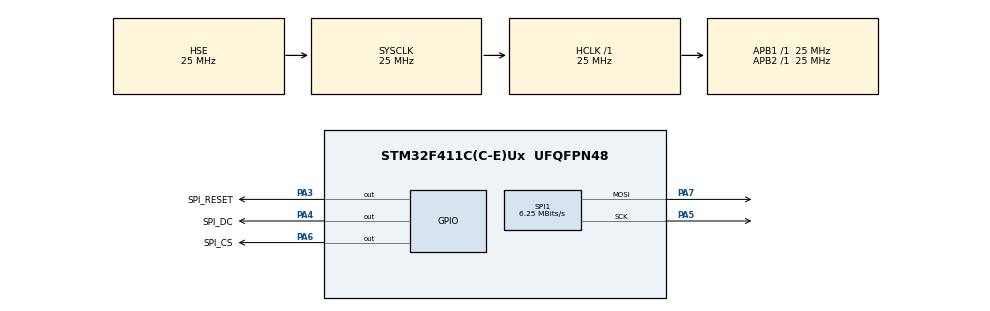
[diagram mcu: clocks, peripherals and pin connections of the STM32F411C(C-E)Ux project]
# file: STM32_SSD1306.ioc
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FREERTOS.Tasks01=gui,0,2000,guiTask,Default,NULL,Dynamic,NULL,NULL
Mcu.Family=STM32F4
Mcu.Name=STM32F411C(C-E)Ux
Mcu.Package=UFQFPN48
NVIC.PriorityGroup=NVIC_PRIORITYGROUP_4
NVIC.TIM1_UP_TIM10_IRQn=true\:15\:0\:false\:false\:true\:false\:false\:true\:true
NVIC.TimeBase=TIM1_UP_TIM10_IRQn
NVIC.TimeBaseIP=TIM1
PA13.Mode=Serial_Wire
PA13.Signal=SYS_JTMS-SWDIO
PA14.Mode=Serial_Wire
PA14.Signal=SYS_JTCK-SWCLK
PA3.GPIO_Label=SPI_RESET
PA3.Signal=GPIO_Output
PA4.GPIO_Label=SPI_DC
PA4.Signal=GPIO_Output
PA5.Mode=TX_Only_Simplex_Unidirect_Master
PA5.Signal=SPI1_SCK
PA6.GPIO_Label=SPI_CS
PA6.Signal=GPIO_Output
PA7.Mode=TX_Only_Simplex_Unidirect_Master
PA7.Signal=SPI1_MOSI
PH0\ -\ OSC_IN.Mode=HSE-External-Oscillator
PH0\ -\ OSC_IN.Signal=RCC_OSC_IN
PH1\ -\ OSC_OUT.Mode=HSE-External-Oscillator
PH1\ -\ OSC_OUT.Signal=RCC_OSC_OUT
ProjectManager.HeapSize=0x200
ProjectManager.StackSize=0x400
ProjectManager.TargetToolchain=STM32CubeIDE
RCC.48MHZClocksFreq_Value=75000000
RCC.AHBFreq_Value=25000000
RCC.APB1Freq_Value=25000000
RCC.APB1TimFreq_Value=25000000
RCC.APB2Freq_Value=25000000
RCC.APB2TimFreq_Value=25000000
RCC.CortexFreq_Value=25000000
RCC.HCLKFreq_Value=25000000
RCC.HSE_VALUE=25000000
RCC.HSI_VALUE=16000000
RCC.LSE_VALUE=32768
RCC.PLLSourceVirtual=RCC_PLLSOURCE_HSE
RCC.SYSCLKFreq_VALUE=25000000
RCC.SYSCLKSource=RCC_SYSCLKSOURCE_HSE
RCC.VCOOutputFreq_Value=300000000
SPI1.BaudRatePrescaler=SPI_BAUDRATEPRESCALER_4
SPI1.CalculateBaudRate=6.25 MBits/s
SPI1.Direction=SPI_DIRECTION_2LINES
SPI1.Mode=SPI_MODE_MASTER
SPI1.VirtualType=VM_MASTER
TIM2.Prescaler=25-1
VP_FREERTOS_VS_CMSIS_V1.Mode=CMSIS_V1
VP_SYS_VS_tim1.Mode=TIM1
VP_TIM2_VS_ClockSourceINT.Mode=Internal
board=custom

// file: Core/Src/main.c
/* @file  main.c
   @brief this code involves STM32 and SSD1306 oled display implementation
          with lvgl support.
   @author Shyam Jha (Avinashee Tech)
*/

#include "main.h"
#include "cmsis_os.h"

/* USER CODE BEGIN Includes */
#include <stdio.h>
#include <string.h>
#include <stdlib.h>

#include "ssd1306.h"
#include "lvgl.h"
#include "ui.h"
/* USER CODE END Includes */

/* USER CODE BEGIN PD */
#define SCREEN_WIDTH 128 // OLED display width, in pixels
#define SCREEN_HEIGHT 64 // OLED display height, in pixels
/* USER CODE END PD */

/* USER CODE BEGIN PM */
#define LV_TICK_PERIOD_MS 1
#define DISP_BUF_LINES 8   // e.g., 8 lines at a time
#define BYTES_PER_PIXEL (LV_COLOR_FORMAT_GET_SIZE(LV_COLOR_FORMAT_I1))
#define DISP_BUF_SIZE (SCREEN_WIDTH * DISP_BUF_LINES)
#define HW_COLUMNS (128 / 8)
#define LV_TICK_PERIOD_MS 1

/* USER CODE END PM */

SPI_HandleTypeDef hspi1;

TIM_HandleTypeDef htim2;

osThreadId guiHandle;

void SystemClock_Config(void);
static void MX_GPIO_Init(void);
static void MX_SPI1_Init(void);
static void MX_TIM2_Init(void);

/* USER CODE BEGIN 0 */

extern const lv_img_dsc_t moustacheman_bmp;
extern const lv_img_dsc_t hatwomen_bmp;
extern const lv_img_dsc_t building_bmp;
extern const lv_img_dsc_t animal_bmp;
extern const lv_img_dsc_t flower_bmp;

//tick count variable
volatile int tick = 0;

static int hour = 7;
static int minute = 30;
static int second = 0;

/*function declarations*/
void guiTask(void const * pvParameter);
void oled_flush_cb(struct _lv_disp_drv_t * disp_drv, const lv_area_t * area, lv_color_t * color_p);
void oled_set_px_cb(struct _lv_disp_drv_t * disp_drv, uint8_t * buf, lv_coord_t buf_w, lv_coord_t x, lv_coord_t y, lv_color_t color, lv_opa_t opa);
void oled_rounder_cb(struct _lv_disp_drv_t * disp_drv, lv_area_t *a);
void flush_one_row(unsigned int address, uint8_t *buf, int linelen);
void lvgl_display_handler(int ms);
static void lv_tick_task(void);
void update_clock(lv_timer_t * timer);
/* USER CODE END 0 */

int main(void)
{

  /* MCU Configuration--------------------------------------------------------*/

  /* Reset of all peripherals, Initializes the Flash interface and the Systick. */
  HAL_Init();

  /* Configure the system clock */
  SystemClock_Config();

  /* Initialize all configured peripherals */
  MX_GPIO_Init();
  MX_SPI1_Init();
  MX_TIM2_Init();
  /* USER CODE BEGIN 2 */

  HAL_TIM_Base_Start(&htim2);  //for delay in microseconds

  //initialize display driver
  if(!oled_begin(SCREEN_WIDTH,SCREEN_HEIGHT,SSD1306_SWITCHCAPVCC,true)) { // SSD1306_SWITCHCAPVCC = generate display voltage from 3.3V internally
	  printf("SSD1306 allocation failed");
  }

  // Clear the buffer
  oled_clearDisplay();

  /* USER CODE END 2 */

  /* Create the thread(s) */
  /* definition and creation of gui */
  osThreadDef(gui, guiTask, osPriorityNormal, 0, 2000);
  guiHandle = osThreadCreate(osThread(gui), NULL);

  /* Start scheduler */
  osKernelStart();

  /* We should never get here as control is now taken by the scheduler */

  /* Infinite loop */
  while (1)
  {

  }
}

void SystemClock_Config(void)
{
  RCC_OscInitTypeDef RCC_OscInitStruct = {0};
  RCC_ClkInitTypeDef RCC_ClkInitStruct = {0};

  /** Configure the main internal regulator output voltage
  */
  __HAL_RCC_PWR_CLK_ENABLE();
  __HAL_PWR_VOLTAGESCALING_CONFIG(PWR_REGULATOR_VOLTAGE_SCALE1);

  /** Initializes the RCC Oscillators according to the specified parameters
  * in the RCC_OscInitTypeDef structure.
  */
  RCC_OscInitStruct.OscillatorType = RCC_OSCILLATORTYPE_HSE;
  RCC_OscInitStruct.HSEState = RCC_HSE_ON;
  RCC_OscInitStruct.PLL.PLLState = RCC_PLL_NONE;
  if (HAL_RCC_OscConfig(&RCC_OscInitStruct) != HAL_OK)
  {
    Error_Handler();
  }

  /** Initializes the CPU, AHB and APB buses clocks
  */
  RCC_ClkInitStruct.ClockType = RCC_CLOCKTYPE_HCLK|RCC_CLOCKTYPE_SYSCLK
                              |RCC_CLOCKTYPE_PCLK1|RCC_CLOCKTYPE_PCLK2;
  RCC_ClkInitStruct.SYSCLKSource = RCC_SYSCLKSOURCE_HSE;
  RCC_ClkInitStruct.AHBCLKDivider = RCC_SYSCLK_DIV1;
  RCC_ClkInitStruct.APB1CLKDivider = RCC_HCLK_DIV1;
  RCC_ClkInitStruct.APB2CLKDivider = RCC_HCLK_DIV1;

  if (HAL_RCC_ClockConfig(&RCC_ClkInitStruct, FLASH_LATENCY_0) != HAL_OK)
  {
    Error_Handler();
  }
}

static void MX_SPI1_Init(void)
{

  /* SPI1 parameter configuration*/
  hspi1.Instance = SPI1;
  hspi1.Init.Mode = SPI_MODE_MASTER;
  hspi1.Init.Direction = SPI_DIRECTION_2LINES;
  hspi1.Init.DataSize = SPI_DATASIZE_8BIT;
  hspi1.Init.CLKPolarity = SPI_POLARITY_LOW;
  hspi1.Init.CLKPhase = SPI_PHASE_1EDGE;
  hspi1.Init.NSS = SPI_NSS_SOFT;
  hspi1.Init.BaudRatePrescaler = SPI_BAUDRATEPRESCALER_4;
  hspi1.Init.FirstBit = SPI_FIRSTBIT_MSB;
  hspi1.Init.TIMode = SPI_TIMODE_DISABLE;
  hspi1.Init.CRCCalculation = SPI_CRCCALCULATION_DISABLE;
  hspi1.Init.CRCPolynomial = 10;
  if (HAL_SPI_Init(&hspi1) != HAL_OK)
  {
    Error_Handler();
  }

}

static void MX_TIM2_Init(void)
{

  TIM_ClockConfigTypeDef sClockSourceConfig = {0};
  TIM_MasterConfigTypeDef sMasterConfig = {0};

  htim2.Instance = TIM2;
  htim2.Init.Prescaler = 25-1;
  htim2.Init.CounterMode = TIM_COUNTERMODE_UP;
  htim2.Init.Period = 4294967295;
  htim2.Init.ClockDivision = TIM_CLOCKDIVISION_DIV1;
  htim2.Init.AutoReloadPreload = TIM_AUTORELOAD_PRELOAD_DISABLE;
  if (HAL_TIM_Base_Init(&htim2) != HAL_OK)
  {
    Error_Handler();
  }
  sClockSourceConfig.ClockSource = TIM_CLOCKSOURCE_INTERNAL;
  if (HAL_TIM_ConfigClockSource(&htim2, &sClockSourceConfig) != HAL_OK)
  {
    Error_Handler();
  }
  sMasterConfig.MasterOutputTrigger = TIM_TRGO_RESET;
  sMasterConfig.MasterSlaveMode = TIM_MASTERSLAVEMODE_DISABLE;
  if (HAL_TIMEx_MasterConfigSynchronization(&htim2, &sMasterConfig) != HAL_OK)
  {
    Error_Handler();
  }

}

static void MX_GPIO_Init(void)
{
  GPIO_InitTypeDef GPIO_InitStruct = {0};

  /* GPIO Ports Clock Enable */
  __HAL_RCC_GPIOH_CLK_ENABLE();
  __HAL_RCC_GPIOA_CLK_ENABLE();

  /*Configure GPIO pin Output Level */
  HAL_GPIO_WritePin(GPIOA, SPI_RESET_Pin|SPI_DC_Pin|SPI_CS_Pin, GPIO_PIN_RESET);

  /*Configure GPIO pins : SPI_RESET_Pin SPI_DC_Pin SPI_CS_Pin */
  GPIO_InitStruct.Pin = SPI_RESET_Pin|SPI_DC_Pin|SPI_CS_Pin;
  GPIO_InitStruct.Mode = GPIO_MODE_OUTPUT_PP;
  GPIO_InitStruct.Pull = GPIO_NOPULL;
  GPIO_InitStruct.Speed = GPIO_SPEED_FREQ_LOW;
  HAL_GPIO_Init(GPIOA, &GPIO_InitStruct);

}

/* USER CODE BEGIN 4 */

/**
 * @brief  task for GUI operation
 * @param  argument default task parameters
 * @retval None
 * @note   takes care of LVGL initialization and Displays Text
 *         and Images chosen. (UI also)
 */
void guiTask(void const * pvParameter)
{
	//initialize LVGL
	lv_init();

	//create buffer for display data
	printf("buf size-%d\n",DISP_BUF_SIZE * sizeof(lv_color_t));
	lv_color_t* buf1 = malloc(DISP_BUF_SIZE * sizeof(lv_color_t));
	assert(buf1 != NULL);
	lv_color_t *buf2 = NULL;

	static lv_disp_draw_buf_t draw_buf;
	lv_disp_draw_buf_init(&draw_buf, buf1, buf2, DISP_BUF_SIZE);

	lv_disp_drv_t disp_drv;
	lv_disp_drv_init(&disp_drv);
	disp_drv.hor_res = SCREEN_WIDTH;
	disp_drv.ver_res = SCREEN_HEIGHT;
	disp_drv.draw_buf = &draw_buf;
	disp_drv.flush_cb = oled_flush_cb;
	disp_drv.set_px_cb = oled_set_px_cb;
	disp_drv.rounder_cb = oled_rounder_cb;

	lv_disp_t * disp;
	disp = lv_disp_drv_register(&disp_drv);

    /*ui init*/
	ui_init();
	lv_timer_create(update_clock,1000,NULL); //1s period timer

   /* Infinite loop */
    for(;;)
    {
        /*update clock variables*/
    	static char clock_buffer[4] = {0};

		memset(clock_buffer,0,sizeof(clock_buffer));
		sprintf(clock_buffer,"%02d",hour);
		lv_label_set_text(ui_Label1,clock_buffer);

		memset(clock_buffer,0,sizeof(clock_buffer));
		sprintf(clock_buffer,"%02d",minute);
		lv_label_set_text(ui_Label2,clock_buffer);

		memset(clock_buffer,0,sizeof(clock_buffer));
		sprintf(clock_buffer,"%02d",second);
		lv_label_set_text(ui_Label3,clock_buffer);

    	lv_task_handler();
    }

    /* A task should NEVER return */
	free(buf1);
}

/**
 * @brief  function to update UI periodically
 * @param  timer timer descriptor
 * @retval None
 * @note   updates hour, minute and seconds value from the default set variable
 *         defined on the top.
 */
void update_clock(lv_timer_t * timer){
    second++;
    if(second>=60){
        minute++;
        second=0;
    }
    if(minute>=60){
        hour++;
        minute=0;
    }
    if(hour>=24){
        hour=0;
    }

}
/**
 * @brief  helper function to handle lvgl task in background
 * @param  ms millisecond to wait
 * @retval None
 */
void lvgl_display_handler(int ms){
    int current_tick = tick;
    while(abs(tick-current_tick)<ms){
        lv_task_handler();
    }
}

/**
 * @brief  lvgl flush callback for ssd1306 oled
 * @param  disp_drv display driver pointer
 * @param  area display area to update
 * @param  color_p pixel data to be updated
 * @retval None
 * @note   this callback function is called after set_px_cb has prepared 1 bit/pixel
 *         buffer data.
 */
void oled_flush_cb(struct _lv_disp_drv_t * disp_drv, const lv_area_t * area, lv_color_t * color_p)
{
    int row = area->y1, col;
    uint8_t *buffer;
    int linelen = (area->x2 - area->x1)/8;
    buffer = (uint8_t*) color_p;

    for (row = area->y1; row <= area->y2; row++) {
        unsigned int address = (unsigned int)row * HW_COLUMNS + area->x1/8;
        flush_one_row(address, buffer, linelen);
        buffer += linelen+1;
    }

    oled_display();
    lv_disp_flush_ready(disp_drv);
}

/**
 * @brief  lvgl set pixel callback for ssd1306 oled
 * @param  disp_drv display driver pointer
 * @param  buf  display data buffer
 * @param  buf_w display width
 * @param  x display x co-ordinates
 * @param  y display y co-ordinates
 * @param  color 8bit color value
 * @param  opa opacity value
 * @retval None
 * @note   converts 8 bit/pixel color value into 1 bit/pixel based on
 *         display buffer value.
 */
void oled_set_px_cb(struct _lv_disp_drv_t * disp_drv, uint8_t * buf, lv_coord_t buf_w, lv_coord_t x, lv_coord_t y, lv_color_t color, lv_opa_t opa)
{
    buf += buf_w/8 * y;
    buf += x/8;
    if(lv_color_brightness(color) > 128) {(*buf) |= (1 << (7 - x % 8));}
    else {(*buf) &= ~(1 << (7 - x % 8));}

}

/**
 * @brief  rounds or adjust the dimension of display data buffer
 * @param  disp_drv display driver pointer
 * @param  a display area
 * @retval None
 * @note   useful in adjusting data buffer boundary for proper update.
 */
void oled_rounder_cb(struct _lv_disp_drv_t * disp_drv, lv_area_t *a)
{
    a->x1 = a->x1 & ~(0x7);  //Round Down
    a->x2 = a->x2 |  (0x7);  //Round Up
}

/**
 * @brief  function to update display pixel data
 * @param  address display data buffer index address
 * @param  buf display data buffer
 * @param  linelen number of bytes to update
 * @retval None
 * @note   this function is called from within flush callback, and
 *         then writes spi buffer for respective display pixels.
 */
void flush_one_row(unsigned int address, uint8_t *buf, int linelen)
{
    for (int byte_idx = 0; byte_idx < linelen; byte_idx++) {
        uint8_t data = buf[byte_idx];
        for (int bit = 0; bit < 8; bit++) {
            int x = (address % HW_COLUMNS) * 8 + bit;
            int y = address / HW_COLUMNS;
            uint16_t ssd_color = (data & 0x80) ? 1 : 0;
            data = data<<1;
            oled_drawPixel(x, y, ssd_color);
        }
        address++;
    }
}

/**
 * @brief  tick interrupt ISR
 * @param  arg argument
 * @retval None
 * @note   periodically updates tick value and calls lv_tick_inc
 */
static void lv_tick_task(void) {
    tick++;
    lv_tick_inc(LV_TICK_PERIOD_MS);
}

/* USER CODE END 4 */

void HAL_TIM_PeriodElapsedCallback(TIM_HandleTypeDef *htim)
{
  if (htim->Instance == TIM1)
  {
    HAL_IncTick();
    lv_tick_task();
  }
}

void Error_Handler(void)
{
  __disable_irq();
  while (1)
  {
  }
}
